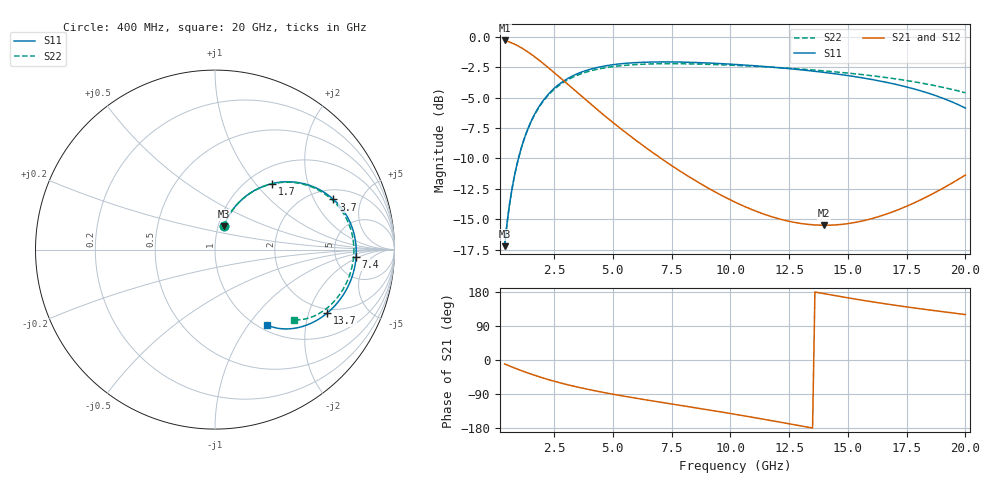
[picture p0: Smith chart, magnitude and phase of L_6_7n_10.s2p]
! Touchstone simulation data from EMX version 5.7
# Hz S RI R 50
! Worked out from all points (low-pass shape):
!   197 points, 400 MHz to 20 GHz, reference 50 ohm
!   highest |S21| = -0.32 dB at 400 MHz (marker M1); lowest = -15.5 dB at 14 GHz (marker M2)
!   |S21| within 3 dB of the highest: start of sweep to 2.727 GHz
!   lowest |S11| = -17.2 dB at 400 MHz (marker M3), VSWR 1.32, Z = 53.2 + j14 ohm
!   |S11| at or under -10 dB: start of sweep to 987.6 MHz
!   |S22| runs from -17.2 to -2.2 dB; largest |S21 - S12| = 0
!   S11 on the Smith chart (normalised r, x): 400 MHz: 1.06, +0.28; 1.7 GHz: 1.27, +1.22; 3.7 GHz: 2.51, +2.89; 7.4 GHz: 8.03, -1.70; 13.7 GHz: 1.83, -2.67; 20 GHz: 1.09, -1.23
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4e8  0.0482 0.1295  0.9477 -0.1757  0.9477 -0.1757  0.0483 0.1295
6e8  0.0756 0.1874  0.9155 -0.2558  0.9155 -0.2558  0.0757 0.1872
9e8  0.1309 0.2608  0.8497 -0.3609  0.8497 -0.3609  0.131 0.2603
1.3e9  0.221 0.3301  0.7409 -0.4683  0.7409 -0.4683  0.2205 0.3288
1.7e9  0.3166 0.3674  0.6225 -0.5386  0.6225 -0.5386  0.3149 0.3654
2.1e9  0.4076 0.378  0.5064 -0.5768  0.5064 -0.5768  0.4041 0.3756
2.5e9  0.4886 0.3688  0.3994 -0.5901  0.3994 -0.5901  0.4828 0.3666
3.1e9  0.5872 0.3314  0.2625 -0.5783  0.2625 -0.5783  0.5776 0.3311
3.7e9  0.6599 0.2796  0.1543 -0.5445  0.1543 -0.5445  0.6469 0.2827
4.4e9  0.7181 0.2132  0.0592 -0.4926  0.0592 -0.4926  0.7022 0.2217
5.1e9  0.7546 0.1472  -0.00983 -0.4369  -0.00983 -0.4369  0.7374 0.162
7e9  0.787 -0.0114  -0.1149 -0.2977  -0.1149 -0.2977  0.7731 0.0213
7.4e9  0.7861 -0.0403  -0.1273 -0.2721  -0.1273 -0.2721  0.7739 -0.00408
1.02e10  0.7401 -0.2075  -0.1678 -0.1254  -0.1678 -0.1254  0.7472 -0.1504
1.19e10  0.691 -0.2855  -0.1715 -0.0571  -0.1715 -0.0571  0.7145 -0.2194
1.35e10  0.6336 -0.3462  -0.1691 -0.00143  -0.1691 -0.00143  0.6758 -0.2746
1.37e10  0.6257 -0.353  -0.1685 0.00515  -0.1685 0.00515  0.6705 -0.2809
1.4e10  0.6135 -0.3628  -0.1677 0.0149  -0.1677 0.0149  0.6622 -0.2901
1.54e10  0.5511 -0.4027  -0.163 0.0596  -0.163 0.0596  0.6199 -0.3293
1.68e10  0.4792 -0.4308  -0.1576 0.1051  -0.1576 0.1051  0.5711 -0.361
1.85e10  0.3802 -0.4416  -0.149 0.1669  -0.149 0.1669  0.5038 -0.3861
2e10  0.2886 -0.4193  -0.1349 0.2345  -0.1349 0.2345  0.4402 -0.3901
